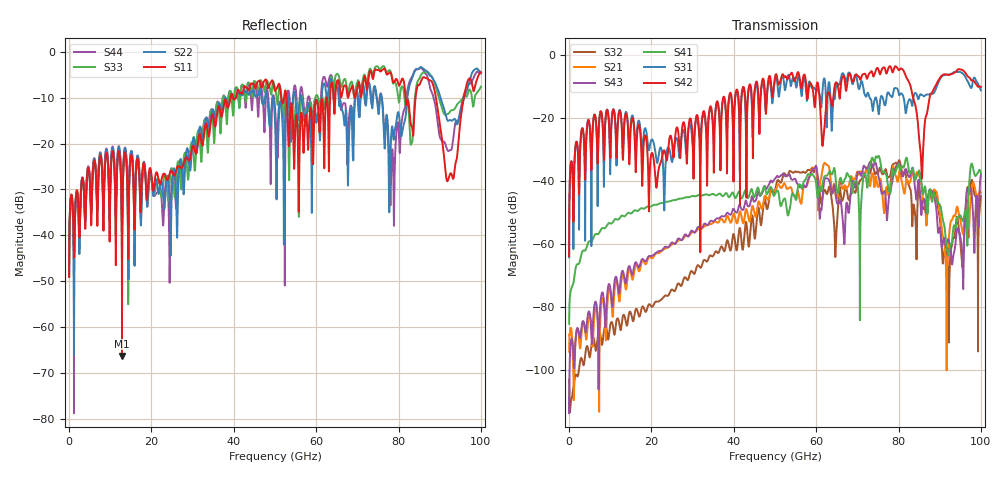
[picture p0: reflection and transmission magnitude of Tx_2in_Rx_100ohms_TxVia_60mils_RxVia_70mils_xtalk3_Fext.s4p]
! Info: Touchstone file created by Circ.  Input file=Tx_2in_Rx_100ohms_TxVia_60mils_RxVia_70mils.circ
# Hz S RI R 50
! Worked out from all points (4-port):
!   10000 points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, 10 MHz to 100 GHz, reference 50 ohm
!   strongest paths, dB at 10 MHz, 25.01 GHz, 50.01 GHz, 75.01 GHz, 100 GHz:
!     S42: -63.9, -27.8, -6.9, -4.2, -10.0
!     S31: -64.3, -34.0, -7.9, -17.2, -11.2
!     S41: -85.4, -46.2, -44.1, -32.3, -37.6
!     S43: -109.0, -59.6, -39.3, -37.9, -38.0
!     S21: -94.3, -60.1, -43.4, -41.8, -43.7
!     S32: -103.2, -74.5, -43.1, -37.6, -44.8
!   lowest |S11| = -66.3 dB at 12.85 GHz (marker M1), VSWR 1.00, Z = 50 - j0.0478 ohm
!   |S11| at or under -10 dB: start of sweep to 39.2 GHz; 52.79 GHz to 62.48 GHz (9.689 GHz wide, 16.8 % of centre); 89.08 GHz to 95.87 GHz (6.782 GHz wide, 7.33 % of centre)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
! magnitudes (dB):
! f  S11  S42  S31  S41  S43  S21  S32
! 10 MHz  -49.1  -63.9  -64.3  -85.4  -109.0  -94.3  -103.2
! 12.85 GHz  -66.3  -24.4  -24.5  -51.0  -68.8  -70.4  -84.7
! 53.79 GHz  -12.0  -6.0  -9.7  -47.3  -38.9  -42.0  -36.9
! 80.85 GHz  -5.9  -4.4  -12.3  -35.3  -38.3  -40.4  -37.6
! 85.58 GHz  -6.1  -36.5  -12.5  -40.6  -50.7  -41.3  -46.9
! 93.14 GHz  -27.5  -5.9  -5.6  -57.2  -65.7  -51.9  -59.0
! 100 GHz  -4.5  -10.0  -11.2  -37.6  -38.0  -43.7  -44.8
